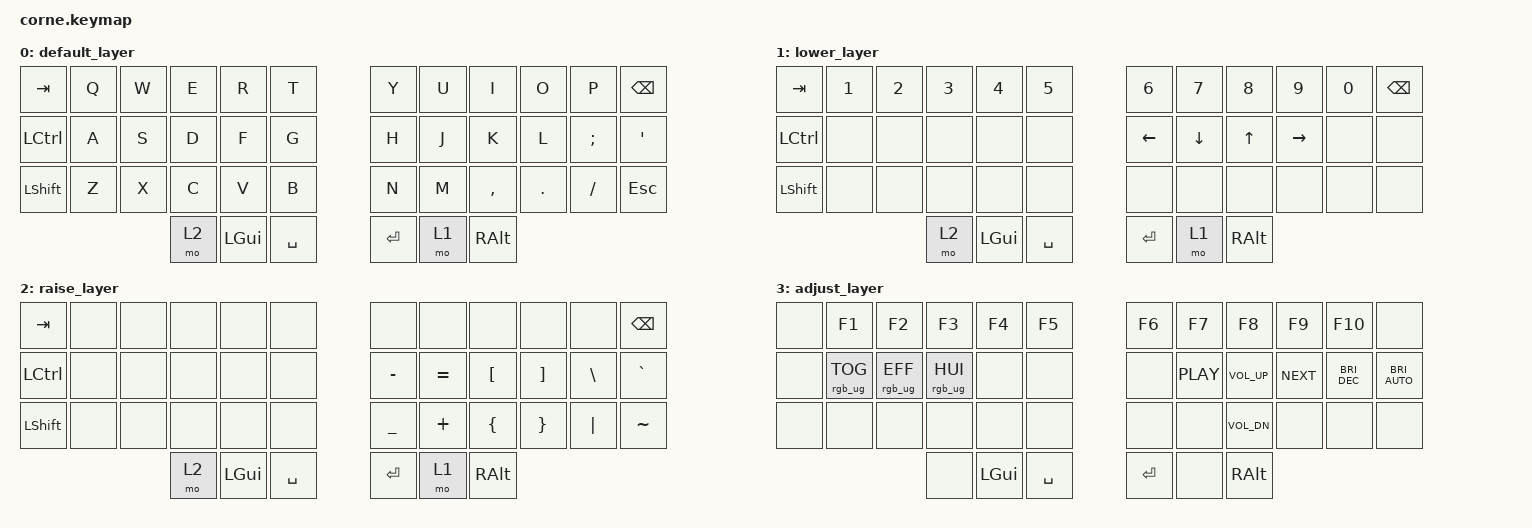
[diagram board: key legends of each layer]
/*
 * Copyright (c) 2020 The ZMK Contributors
 *
 * SPDX-License-Identifier: MIT
 */

#include <behaviors.dtsi>
#include <dt-bindings/zmk/keys.h>
#include <dt-bindings/zmk/rgb.h>

&led_strip {
    chain-length = <27>;

    // 21 backlight + 6 glowlight
};

/ {
    conditional_layers {
        compatible = "zmk,conditional-layers";

        tri_layer {
            if-layers = <1 2>;
            then-layer = <3>;
        };
    };

    keymap {
        compatible = "zmk,keymap";

        // Layer 0 (Base Layer)

        default_layer {
            bindings = <
&kp TAB    &kp Q  &kp W  &kp E  &kp R     &kp T        &kp Y      &kp U  &kp I      &kp O    &kp P     &kp BSPC
&kp LCTRL  &kp A  &kp S  &kp D  &kp F     &kp G        &kp H      &kp J  &kp K      &kp L    &kp SEMI  &kp SQT
&kp LSHFT  &kp Z  &kp X  &kp C  &kp V     &kp B        &kp N      &kp M  &kp COMMA  &kp DOT  &kp FSLH  &kp ESC
                         &mo 2  &kp LGUI  &kp SPACE    &kp ENTER  &mo 1  &kp RALT
            >;
        };

        // Layer 1 (Lower Layer)

        lower_layer {
            bindings = <
&kp TAB    &kp N1  &kp N2  &kp N3  &kp N4    &kp N5       &kp N6     &kp N7    &kp N8    &kp N9     &kp N0  &kp BSPC
&kp LCTRL  &none   &none   &none   &none     &none        &kp LEFT   &kp DOWN  &kp UP    &kp RIGHT  &none   &none
&kp LSHFT  &none   &none   &none   &none     &none        &none      &none     &none     &none      &none   &none
                           &mo 2   &kp LGUI  &kp SPACE    &kp ENTER  &mo 1     &kp RALT
            >;
        };

        // Layer 2 (Raise Layer)

        raise_layer {
            bindings = <
&kp TAB    &none  &none  &none  &none     &none        &none           &none      &none             &none              &none          &kp BSPC
&kp LCTRL  &none  &none  &none  &none     &none        &kp MINUS       &kp EQUAL  &kp LEFT_BRACKET  &kp RIGHT_BRACKET  &kp BACKSLASH  &kp GRAVE
&kp LSHFT  &none  &none  &none  &none     &none        &kp UNDERSCORE  &kp PLUS   &kp LEFT_BRACE    &kp RIGHT_BRACE    &kp PIPE       &kp TILDE
                         &mo 2  &kp LGUI  &kp SPACE    &kp ENTER       &mo 1      &kp RALT
            >;
        };

        // Layer 3 (Adjust Layer)

        adjust_layer {
            bindings = <
&none  &kp F1           &kp F2           &kp F3           &kp F4    &kp F5       &kp F6     &kp F7      &kp F8        &kp F9      &kp F10               &none
&none  &rgb_ug RGB_TOG  &rgb_ug RGB_EFF  &rgb_ug RGB_HUI  &none     &none        &none      &kp C_PLAY  &kp C_VOL_UP  &kp C_NEXT  &kp C_BRIGHTNESS_DEC  &kp C_BRIGHTNESS_AUTO
&none  &none            &none            &none            &none     &none        &none      &none       &kp C_VOL_DN  &none       &none                 &none
                                         &none            &kp LGUI  &kp SPACE    &kp ENTER  &none       &kp RALT
            >;
        };
    };
};
